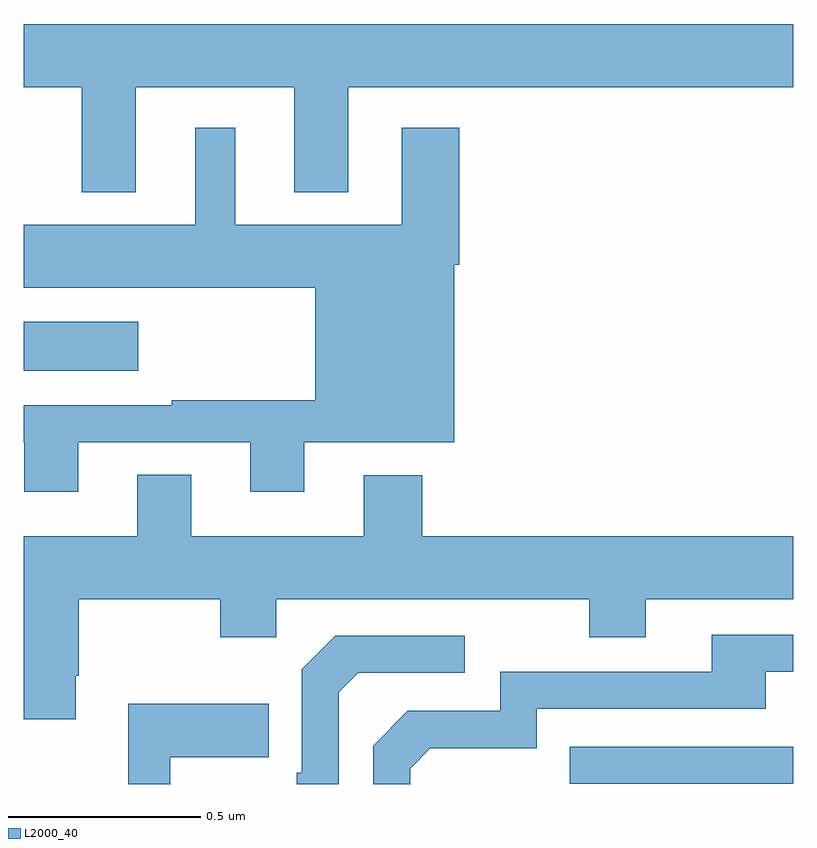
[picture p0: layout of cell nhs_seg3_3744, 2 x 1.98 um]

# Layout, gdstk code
import gdstk
lib = gdstk.Library(unit=1e-6, precision=1e-09)
def R(c, l, rs):  # rectangles x0, y0, x1, y1
    for r in rs: c.add(gdstk.rectangle(r[:2], r[2:], *l))
def P(c, l, *ps):  # polygons
    for p in ps: c.add(gdstk.Polygon(p, *l))
L2000_40 = (2000, 40)

nhs_seg3_3744 = lib.new_cell('nhs_seg3_3744')
R(nhs_seg3_3744, L2000_40, [(158.419,736.401,159,736.497), (157,737.474,157.297,737.602)])
P(nhs_seg3_3744, L2000_40, [(157.291,738.212),(157.703,738.212),(157.703,737.939),(157.843,737.939),(157.843,738.212),(159,738.212),(159,738.376),(157,738.376),(157,738.212),(157.151,738.212),(157.151,737.939),(157.291,737.939)],
  [(157.141,737.289),(157.589,737.289),(157.589,737.16),(157.729,737.16),(157.729,737.288),(158.119,737.288),(158.119,737.75),(158.132,737.75),(158.132,738.106),(157.982,738.106),(157.982,737.854),(157.549,737.854),(157.549,738.106),(157.445,738.106),(157.445,737.854),(157,737.854),(157,737.69),(157.757,737.69),(157.757,737.398),(157.384,737.398),(157.384,737.385),(157,737.385),(157,737.289),(157.001,737.289),(157.001,737.16),(157.141,737.16)],
  [(157.135,736.681),(157.143,736.681),(157.143,736.88),(157.51,736.88),(157.51,736.781),(157.656,736.781),(157.656,736.88),(158.47,736.88),(158.47,736.781),(158.617,736.781),(158.617,736.88),(159,736.88),(159,737.044),(158.036,737.044),(158.036,737.203),(157.883,737.203),(157.883,737.044),(157.435,737.044),(157.435,737.204),(157.295,737.204),(157.295,737.044),(157,737.044),(157,736.569),(157.135,736.569)],
  [(158.004,736.44),(158.057,736.493),(158.334,736.493),(158.334,736.596),(158.929,736.596),(158.929,736.692),(159,736.692),(159,736.788),(158.789,736.788),(158.789,736.692),(158.238,736.692),(158.238,736.59),(157.998,736.59),(157.908,736.5),(157.908,736.4),(158.004,736.4)],
  [(157.818,736.638),(157.869,736.689),(158.146,736.689),(158.146,736.785),(157.809,736.785),(157.722,736.698),(157.722,736.429),(157.71,736.429),(157.71,736.4),(157.818,736.4)],
  [(157.381,736.469),(157.637,736.469),(157.637,736.609),(157.271,736.609),(157.271,736.4),(157.381,736.4)])

lib.write_gds('nhs_seg3_3744.gds')
